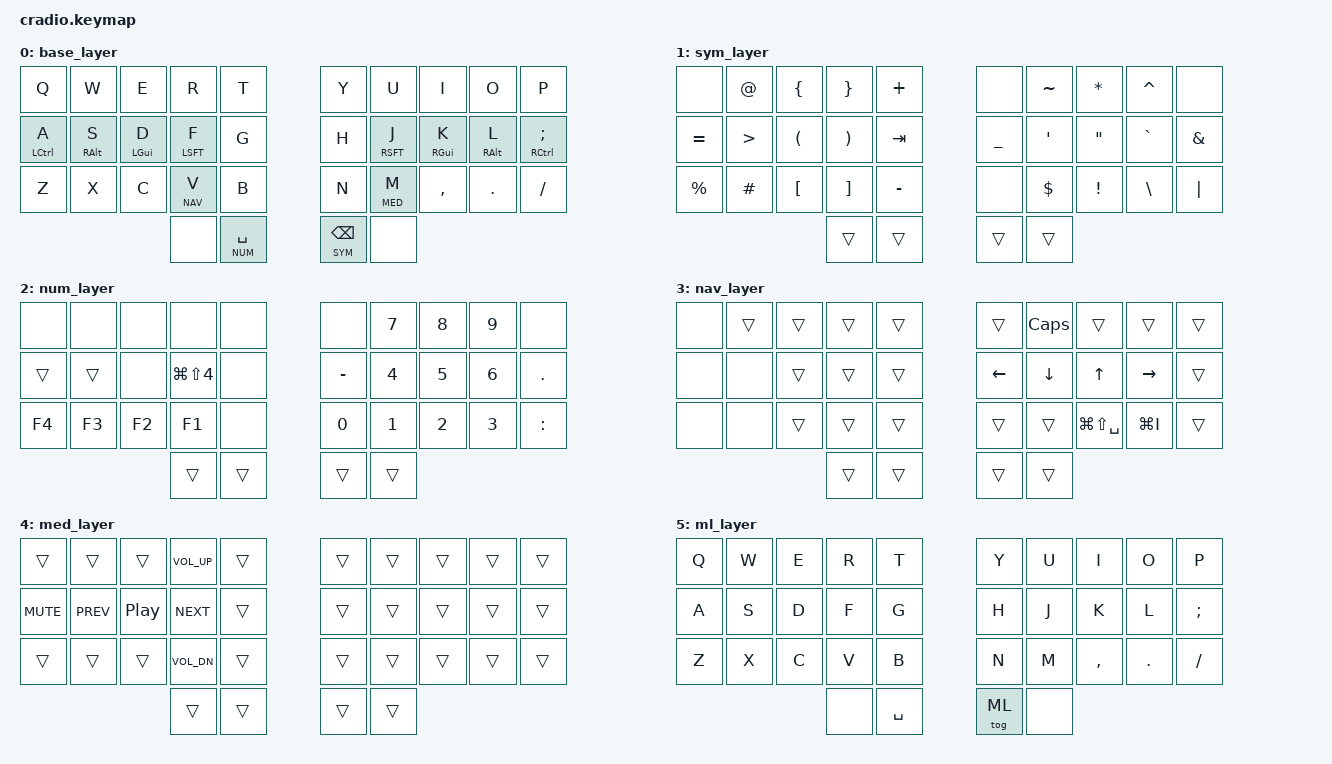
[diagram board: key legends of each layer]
#include <behaviors.dtsi>
#include <dt-bindings/zmk/keys.h>
#include <dt-bindings/zmk/bt.h>
#include <dt-bindings/zmk/outputs.h>

#define BASE 0
#define SYM  1
#define NUM  2
#define NAV  3
#define MED  4
#define ML   5

// Key positions (34 keys, left-to-right, top-to-bottom):
//  0   1   2   3   4     5   6   7   8   9
// 10  11  12  13  14    15  16  17  18  19
// 20  21  22  23  24    25  26  27  28  29
//             30  31    32  33

/ {
    combos {
        compatible = "zmk,combos";

        // D+F = '
        combo_quote {
            timeout-ms = <50>;
            key-positions = <12 13>;
            bindings = <&kp SQT>;
        };

        // J+K = enter
        combo_enter {
            timeout-ms = <50>;
            key-positions = <16 17>;
            bindings = <&kp ENTER>;
        };

        // J+L = escape
        combo_escape {
            timeout-ms = <50>;
            key-positions = <16 18>;
            bindings = <&kp ESC>;
        };

        // M+, = -
        combo_minus {
            timeout-ms = <50>;
            key-positions = <26 27>;
            bindings = <&kp MINUS>;
        };

        // C+V = _
        combo_under {
            timeout-ms = <50>;
            key-positions = <22 23>;
            bindings = <&kp UNDER>;
        };

        // a + s = q
        combo_q {
            timeout-ms = <20>;
            key-positions = <10 11>;
            bindings = <&kp Q>;
        };

        // l + ; = p
        combo_p {
            timeout-ms = <20>;
            key-positions = <18 19>;
            bindings = <&kp P>;
        };
    };

    behaviors {
        hml: homerow_mods_left {
            compatible = "zmk,behavior-hold-tap";
            #binding-cells = <2>;
            tapping-term-ms = <140>;
            quick-tap-ms = <200>;
            require-prior-idle-ms = <60>;
            flavor = "tap-preferred";
            hold-trigger-key-positions = <5 6 7 8 9 15 16 17 18 19 25 26 27 28 29 32 33>;
            hold-trigger-on-release;
            bindings = <&kp>, <&kp>;
        };

        hmr: homerow_mods_right {
            compatible = "zmk,behavior-hold-tap";
            #binding-cells = <2>;
            tapping-term-ms = <140>;
            quick-tap-ms = <200>;
            require-prior-idle-ms = <60>;
            flavor = "tap-preferred";
            hold-trigger-key-positions = <0 1 2 3 4 10 11 12 13 14 20 21 22 23 24 30 31>;
            hold-trigger-on-release;
            bindings = <&kp>, <&kp>;
        };

        // S key: like hml but also excludes L (18) so "sl" never misfires
        hm_s: homerow_mod_s {
            compatible = "zmk,behavior-hold-tap";
            #binding-cells = <2>;
            tapping-term-ms = <200>;
            quick-tap-ms = <200>;
            require-prior-idle-ms = <100>;
            flavor = "tap-preferred";
            hold-trigger-key-positions = <5 6 7 8 9 15 16 17 19 25 26 27 28 29 32 33>;
            hold-trigger-on-release;
            bindings = <&kp>, <&kp>;
        };

        // L key: like hmr but also excludes S (11) so "ls" never misfires
        hm_l: homerow_mod_l {
            compatible = "zmk,behavior-hold-tap";
            #binding-cells = <2>;
            tapping-term-ms = <140>;
            quick-tap-ms = <200>;
            require-prior-idle-ms = <60>;
            flavor = "tap-preferred";
            hold-trigger-key-positions = <0 1 2 3 4 10 12 13 14 20 21 22 23 24 30 31>;
            hold-trigger-on-release;
            bindings = <&kp>, <&kp>;
        };

        shl: shift_left {
            compatible = "zmk,behavior-hold-tap";
            #binding-cells = <2>;
            tapping-term-ms = <140>;
            quick-tap-ms = <200>;
            flavor = "tap-preferred";
            hold-trigger-key-positions = <5 6 7 8 9 15 16 17 18 19 25 26 27 28 29 32 33>;
            hold-trigger-on-release;
            bindings = <&kp>, <&kp>;
        };

        shr: shift_right {
            compatible = "zmk,behavior-hold-tap";
            #binding-cells = <2>;
            tapping-term-ms = <140>;
            quick-tap-ms = <200>;
            flavor = "tap-preferred";
            hold-trigger-key-positions = <0 1 2 3 4 10 11 12 13 14 20 21 22 23 24 30 31>;
            hold-trigger-on-release;
            bindings = <&kp>, <&kp>;
        };

        lt: layer_tap {
            compatible = "zmk,behavior-hold-tap";
            #binding-cells = <2>;
            tapping-term-ms = <140>;
            quick-tap-ms = <200>;
            flavor = "tap-preferred";
            bindings = <&mo>, <&kp>;
        };
    };

    keymap {
        compatible = "zmk,keymap";

        // Layer 0: Base
        base_layer {
            bindings = <
                &kp Q       &kp W       &kp E       &kp R          &kp T        &kp Y        &kp U       &kp I       &kp O       &kp P
                &hml LCTL A  &hm_s RALT S  &hml LGUI D  &shl LSFT F     &kp G        &kp H        &shr RSFT J  &hmr RGUI K  &hm_l RALT L  &hmr RCTL SEMI
                &kp Z       &kp X       &kp C       &lt NAV V      &kp B        &kp N        &lt MED M   &kp COMMA   &kp DOT     &kp SLASH
                                                    &none         &lt NUM SPC  &lt SYM BSPC  &none
            >;
        };

        // Layer 1: Symbols — activated by right thumb
        sym_layer {
            bindings = <
                &none       &kp AT      &kp LBRC    &kp RBRC    &kp PLUS     &none        &kp TILDE   &kp ASTRK   &kp CARET   &none
                &kp EQUAL   &kp GT      &kp LPAR    &kp RPAR    &kp TAB      &kp UNDER    &kp SQT     &kp DQT     &kp GRAVE   &kp AMPS
                &kp PRCNT   &kp HASH    &kp LBKT    &kp RBKT    &kp MINUS    &none        &kp DLLR    &kp EXCL    &kp BSLH    &kp PIPE
                                                    &trans      &trans       &trans       &trans
            >;
        };

        // Layer 2: Numbers — activated by left thumb
        num_layer {
            bindings = <
                &none       &none       &none       &none          &none        &none        &kp N7      &kp N8      &kp N9      &none
                &trans      &trans      &none       &kp LG(LS(N4)) &none        &kp MINUS    &kp N4      &kp N5      &kp N6      &kp DOT
                &kp F4      &kp F3      &kp F2      &kp F1         &none        &kp N0       &kp N1      &kp N2      &kp N3      &kp COLON
                                                    &trans         &trans       &trans       &trans
            >;
        };

        // Layer 3: Navigation — activated by V key
        nav_layer {
            bindings = <
                &none       &trans      &trans      &trans      &trans       &trans       &kp CAPS    &trans      &trans      &trans
                &none       &none       &trans      &trans      &trans       &kp LEFT     &kp DOWN    &kp UP      &kp RIGHT   &trans
                &none       &none       &trans      &trans      &trans       &trans       &trans      &kp LG(LS(SPC)) &kp LG(I) &trans
                                                    &trans      &trans       &trans       &trans
            >;
        };

        // Layer 4: Media — activated by M key
        med_layer {
            bindings = <
                &trans      &trans      &trans      &kp C_VOL_UP &trans       &trans       &trans      &trans      &trans      &trans
                &kp C_MUTE  &kp C_PREV  &kp C_PP    &kp C_NEXT   &trans       &trans       &trans      &trans      &trans      &trans
                &trans      &trans      &trans      &kp C_VOL_DN &trans       &trans       &trans      &trans      &trans      &trans
                                                    &trans       &trans       &trans       &trans
            >;
        };

        // Layer 5: Mouseless — plain QWERTY, no mod-tap, tog ML exits
        ml_layer {
            bindings = <
                &kp Q       &kp W       &kp E       &kp R       &kp T        &kp Y        &kp U       &kp I       &kp O       &kp P
                &kp A       &kp S       &kp D       &kp F       &kp G        &kp H        &kp J       &kp K       &kp L       &kp SEMI
                &kp Z       &kp X       &kp C       &kp V       &kp B        &kp N        &kp M       &kp COMMA   &kp DOT     &kp SLASH
                                                    &none       &kp SPC      &tog ML      &none
            >;
        };
    };
};
